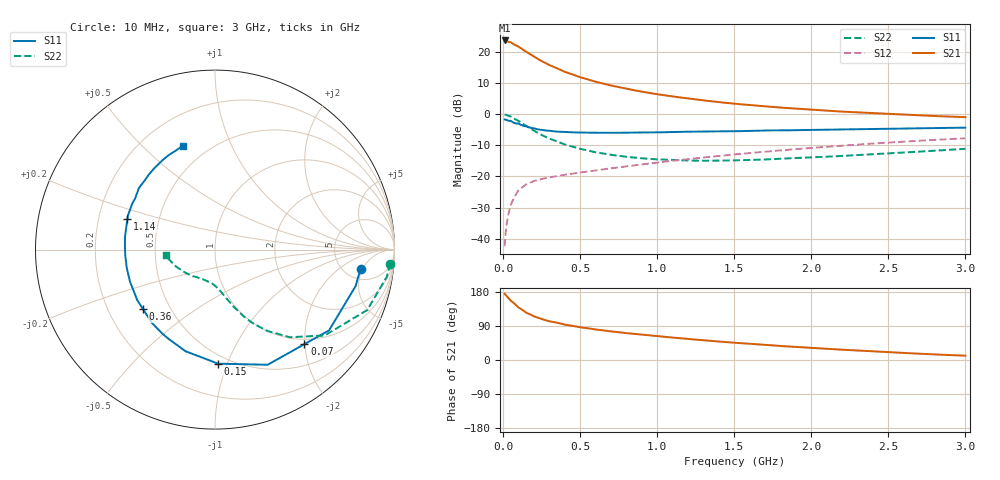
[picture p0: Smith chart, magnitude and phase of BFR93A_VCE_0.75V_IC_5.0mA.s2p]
! Infineon Technologies  Discrete & RF Semiconductors
! BFR93A
! VCE = 0.75 V,  IC =  5.0 mA
! Common Emitter S-Parameters:  Nov 2015
# GHz  S  MA  R  50
!  f  S11  S21  S12  S22
! GHz  MAG  ANG  MAG  ANG  MAG  ANG  MAG  ANG
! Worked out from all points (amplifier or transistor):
!   180 points, 10 MHz to 3 GHz, reference 50 ohm
!   highest |S21| = 23.6 dB at 10 MHz (marker M1)
!   |S21| within 3 dB of that: start of sweep to 130.6 MHz
!   unconditionally stable (mu >= 1): 684.3 MHz to end of sweep
!   at 160 MHz: K = 0.35, MSG = 21.0 dB, |S12| = -22.3 dB
!   at 1.22 GHz: K = 1.16, MAG = 7.2 dB, |S12| = -14.3 dB
!   at 3 GHz: K = 1.05, MAG = 2.1 dB, |S12| = -7.8 dB
!   S11 on the Smith chart (normalised r, x): 10 MHz: 7.08, -4.51; 70 MHz: 0.90, -1.99; 150 MHz: 0.43, -0.93; 360 MHz: 0.35, -0.32; 1.14 GHz: 0.33, +0.15; 3 GHz: 0.37, +0.67
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0.01  0.8182 -7.4  15.13 174.9  0.0076 86.4  0.9792 -4.6
0.02  0.8095 -14.5  14.98 170.1  0.0149 81.5  0.9696 -8.9
0.05  0.7787 -35.3  14.12 156.5  0.0349 71.8  0.913 -21.6
0.07  0.7253 -46.6  13.14 150.0  0.0446 64.8  0.8499 -27.6
0.1  0.7055 -65.4  12.06 138.5  0.0598 58.6  0.7757 -38.1
0.15  0.636 -88.4  9.977 124.9  0.0744 50.4  0.6421 -49.5
0.2  0.5895 -106.2  8.345 115.2  0.0841 45.9  0.5392 -57.2
0.24  0.561 -117.3  7.31 109.6  0.0895 43.8  0.4765 -61.6
0.26  0.5523 -122.2  6.869 106.9  0.092 43.1  0.4499 -63.6
0.3  0.5393 -130.6  6.112 102.2  0.0964 42.3  0.4045 -66.8
0.36  0.5204 -140.3  5.283 97.4  0.1022 42.1  0.3563 -70.1
0.4  0.5165 -147.1  4.757 93.3  0.1061 41.9  0.325 -72.8
0.52  0.5044 -161.1  3.778 85.4  0.1171 43.0  0.2702 -77.7
0.6  0.5021 -168.3  3.303 80.6  0.1246 43.9  0.2437 -80.9
0.7  0.5009 -175.6  2.867 75.5  0.1347 45.0  0.2218 -84.7
0.8  0.5022 178.0  2.539 70.9  0.1447 46.1  0.2058 -88.4
1.02  0.509 166.3  2.043 62.1  0.1689 47.5  0.1868 -96.8
1.14  0.5167 160.9  1.858 57.8  0.1824 47.8  0.1819 -102.0
1.52  0.5299 146.7  1.449 45.0  0.227 47.5  0.181 -118.4
2.02  0.5574 131.5  1.168 31.6  0.2883 44.7  0.2026 -137.9
2.52  0.581 118.6  0.998 20.4  0.351 39.8  0.2351 -156.0
3  0.6052 107.4  0.891 11.4  0.4089 33.9  0.2772 -173.5
